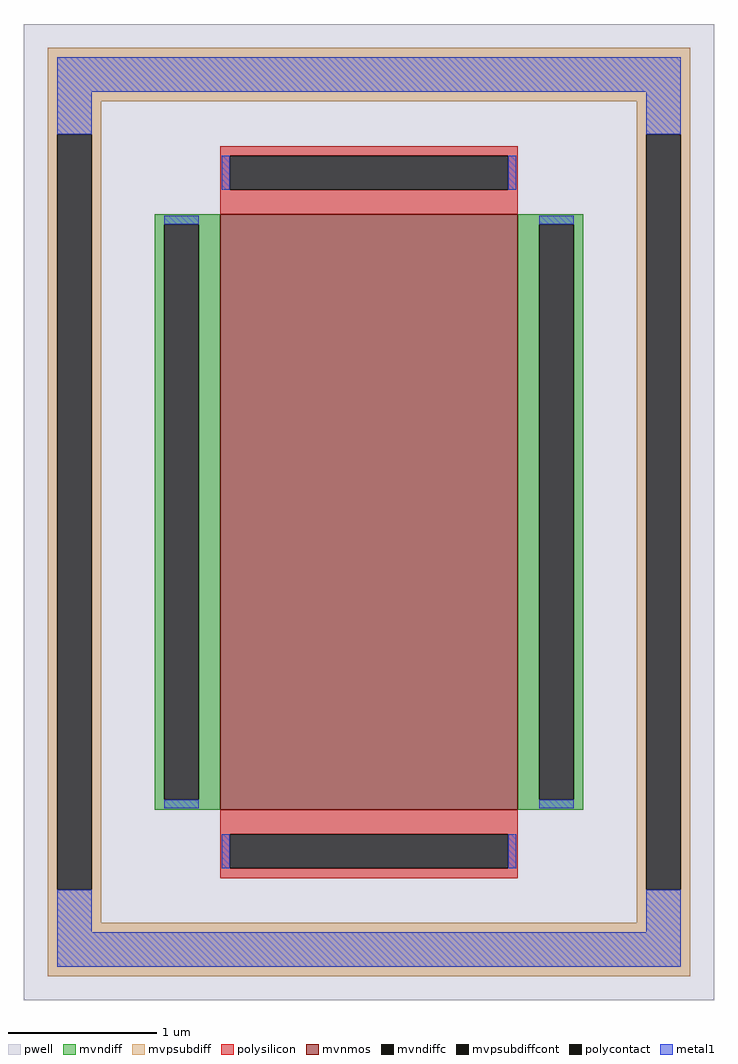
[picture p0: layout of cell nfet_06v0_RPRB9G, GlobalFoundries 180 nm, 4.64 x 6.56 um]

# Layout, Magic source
magic
tech gf180mcuD
magscale 1 10
<< pwell >>
rect -464 -656 464 656
<< mvnmos >>
rect -200 -400 200 400
<< mvndiff >>
rect -288 387 -200 400
rect -288 -387 -275 387
rect -229 -387 -200 387
rect -288 -400 -200 -387
rect 200 387 288 400
rect 200 -387 229 387
rect 275 -387 288 387
rect 200 -400 288 -387
<< mvndiffc >>
rect -275 -387 -229 387
rect 229 -387 275 387
<< mvpsubdiff >>
rect -432 552 432 624
rect -432 508 -360 552
rect -432 -508 -419 508
rect -373 -508 -360 508
rect 360 508 432 552
rect -432 -552 -360 -508
rect 360 -508 373 508
rect 419 -508 432 508
rect 360 -552 432 -508
rect -432 -624 432 -552
<< mvpsubdiffcont >>
rect -419 -508 -373 508
rect 373 -508 419 508
<< polysilicon >>
rect -200 479 200 492
rect -200 433 -187 479
rect 187 433 200 479
rect -200 400 200 433
rect -200 -433 200 -400
rect -200 -479 -187 -433
rect 187 -479 200 -433
rect -200 -492 200 -479
<< polycontact >>
rect -187 433 187 479
rect -187 -479 187 -433
<< metal1 >>
rect -419 565 419 611
rect -419 508 -373 565
rect 373 508 419 565
rect -198 433 -187 479
rect 187 433 198 479
rect -275 387 -229 398
rect -275 -398 -229 -387
rect 229 387 275 398
rect 229 -398 275 -387
rect -198 -479 -187 -433
rect 187 -479 198 -433
rect -419 -565 -373 -508
rect 373 -565 419 -508
rect -419 -611 419 -565
<< properties >>
string FIXED_BBOX -396 -588 396 588
string gencell nfet_06v0
string library gf180mcu
string parameters w 4.0 l 2.0 m 1 nf 1 diffcov 100 polycov 100 guard 1 glc 1 grc 1 gtc 0 gbc 0 tbcov 100 rlcov 100 topc 1 botc 1 poverlap 0 doverlap 1 lmin 0.6 wmin 0.3 class mosfet full_metal 1 compatible {nfet_03v3 nfet_06v0 nfet_06v0_nvt}
<< end >>
